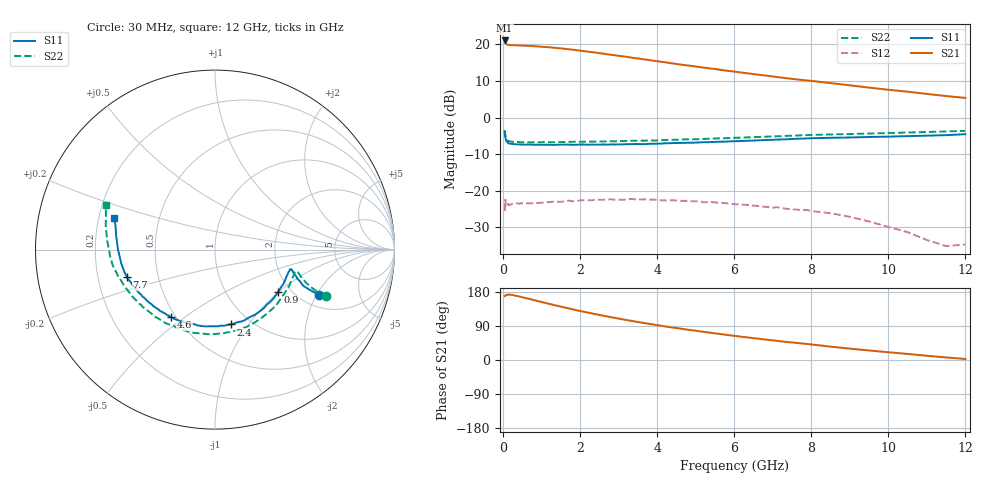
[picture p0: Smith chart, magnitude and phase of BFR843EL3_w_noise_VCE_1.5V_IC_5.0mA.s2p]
! Infineon Technologies  Discrete & RF Semiconductors
! BFR843EL3
! VCE =  1.5 V,  IC =  5.0 mA
! Common Emitter S-Parameters:  Aug 2013
# GHz  S  MA  R  50
!  f  S11  S21  S12  S22
! GHz  MAG  ANG  MAG  ANG  MAG  ANG  MAG  ANG
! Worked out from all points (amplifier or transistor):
!   103 points, 30 MHz to 12 GHz, reference 50 ohm
!   highest |S21| = 21.1 dB at 30 MHz (marker M1)
!   |S21| within 3 dB of that: start of sweep to 2.143 GHz
!   unconditionally stable (mu >= 1): 6.513 GHz to end of sweep
!   at 400 MHz: K = 1.00, MSG = 21.7 dB, |S12| = -23.6 dB
!   at 3.7 GHz: K = 0.77, MSG = 19.1 dB, |S12| = -22.4 dB
!   at 12 GHz: K = 5.23, MAG = 9.9 dB, |S12| = -34.8 dB
!   lowest NFmin = 0.89 dB at 450 MHz
!   S11 on the Smith chart (normalised r, x): 30 MHz: 2.49, -2.12; 900 MHz: 1.72, -0.99; 2.4 GHz: 0.81, -0.83; 4.6 GHz: 0.47, -0.45; 7.7 GHz: 0.33, -0.14; 12 GHz: 0.26, +0.14
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0.03  0.6346 -23.6  11.35 168.3  0.0525 33.7  0.6715 -22.8
0.04  0.5718 -23.0  10.85 169.0  0.0547 25.8  0.6059 -22.2
0.05  0.531 -22.3  10.61 170.2  0.0749 20.2  0.5731 -21.3
0.06  0.5058 -20.5  10.3 170.6  0.0611 13.7  0.537 -19.9
0.1  0.4581 -16.6  9.962 172.4  0.0638 12.9  0.491 -16.5
0.15  0.4415 -14.7  9.827 172.7  0.0628 7.8  0.4735 -14.8
0.25  0.4316 -14.9  9.779 171.2  0.0664 4.6  0.4648 -15.3
0.6  0.4262 -24.2  9.616 162.9  0.067 3.3  0.4603 -26.3
0.9  0.4243 -33.9  9.395 155.3  0.0675 2.5  0.4568 -36.9
1.2  0.4237 -43.6  9.138 147.8  0.0696 2.4  0.4595 -47.5
1.5  0.4251 -52.8  8.832 140.6  0.0701 1.7  0.4604 -57.7
2.1  0.4264 -70.2  8.091 127.0  0.0738 -0.5  0.4656 -76.4
2.4  0.426 -78.3  7.732 120.7  0.075 -1.8  0.4685 -84.5
3.3  0.4318 -99.1  6.639 103.6  0.0767 -8.0  0.4796 -106.3
4.1  0.4396 -114.1  5.799 90.3  0.0735 -12.2  0.4889 -121.4
4.6  0.4484 -122.8  5.31 82.8  0.0722 -15.0  0.4983 -130.1
5.3  0.4585 -133.4  4.746 72.9  0.0694 -19.5  0.5107 -140.3
6.1  0.4746 -144.1  4.18 62.5  0.065 -23.5  0.5297 -150.7
7.7  0.5138 -162.6  3.289 44.2  0.0542 -28.9  0.5693 -168.5
8.5  0.5274 -171.2  2.96 35.3  0.0489 -34.1  0.5859 -176.6
10.5  0.5559 172.2  2.256 16.0  0.0269 -33.1  0.6234 167.5
12  0.5908 162.5  1.853 2.6  0.0183 7.2  0.6559 157.9
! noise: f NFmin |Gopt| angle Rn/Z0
0.45  0.89  0.18  11  0.17
0.9  0.9  0.19  27  0.16
1.5  0.94  0.2  42  0.15
1.9  0.96  0.2  45  0.15
2.4  0.98  0.21  58  0.14
3.5  1.03  0.21  79  0.14
5.5  1.12  0.25  116  0.11
8  1.22  0.33  157  0.08
10  1.3  0.42  204  0.05
